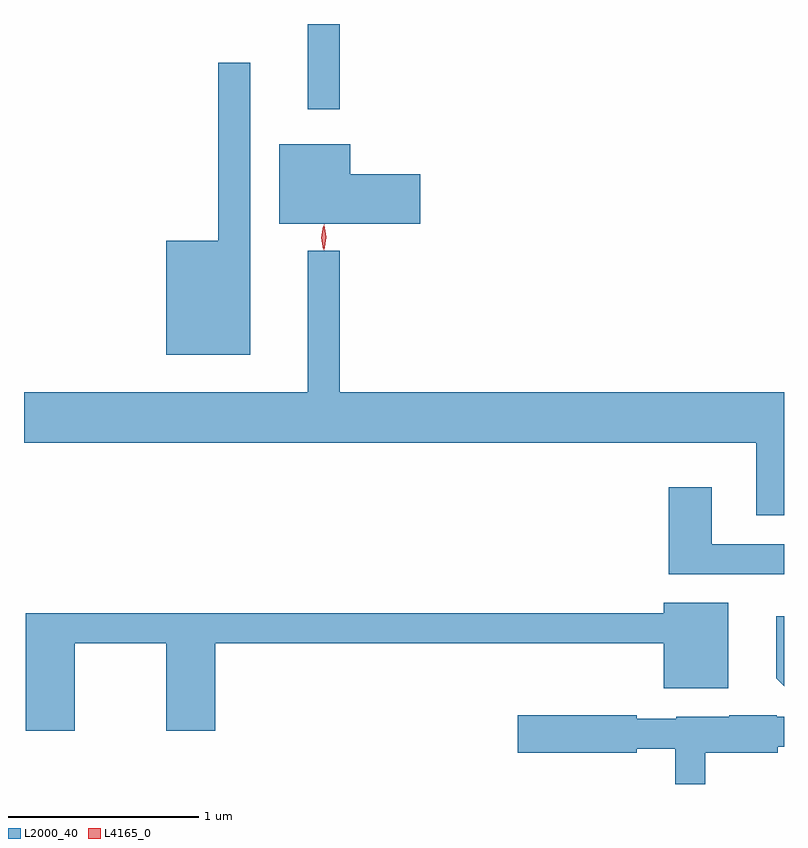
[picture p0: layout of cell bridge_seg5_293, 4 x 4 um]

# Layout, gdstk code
import gdstk
lib = gdstk.Library(unit=1e-6, precision=1e-09)
def R(c, l, rs):  # rectangles x0, y0, x1, y1
    for r in rs: c.add(gdstk.rectangle(r[:2], r[2:], *l))
def P(c, l, *ps):  # polygons
    for p in ps: c.add(gdstk.Polygon(p, *l))
L2000_40 = (2000, 40)
L4165_0 = (4165, 0)

bridge_seg5_293 = lib.new_cell('bridge_seg5_293')
R(bridge_seg5_293, L2000_40, [(689.981,1529.593,690.149,1530.041)])
P(bridge_seg5_293, L2000_40, [(689.679,1529.838),(689.511,1529.838),(689.511,1528.899),(689.236,1528.899),(689.236,1528.301),(689.679,1528.301)],
  [(690.574,1529.249),(690.204,1529.249),(690.204,1529.409),(689.831,1529.409),(689.831,1528.991),(690.574,1528.991)],
  [(692.488,1528.104),(690.149,1528.104),(690.149,1528.848),(689.981,1528.848),(689.981,1528.104),(688.488,1528.104),(688.488,1527.836),(692.341,1527.836),(692.341,1527.456),(692.488,1527.456)],
  [(692.488,1527.304),(692.109,1527.304),(692.109,1527.604),(691.881,1527.604),(691.881,1527.146),(692.488,1527.146)],
  [(688.754,1526.781),(689.236,1526.781),(689.236,1526.321),(689.494,1526.321),(689.494,1526.781),(691.856,1526.781),(691.856,1526.546),(692.194,1526.546),(692.194,1526.994),(691.856,1526.994),(691.856,1526.939),(688.496,1526.939),(688.496,1526.321),(688.754,1526.321)],
  [(692.488,1526.924),(692.446,1526.924),(692.446,1526.597),(692.488,1526.555)],
  [(692.074,1526.206),(692.454,1526.206),(692.454,1526.236),(692.488,1526.236),(692.488,1526.394),(692.45,1526.394),(692.45,1526.404),(692.2,1526.404),(692.2,1526.394),(691.92,1526.394),(691.92,1526.384),(691.714,1526.384),(691.714,1526.404),(691.086,1526.404),(691.086,1526.206),(691.714,1526.206),(691.714,1526.226),(691.916,1526.226),(691.916,1526.041),(692.074,1526.041)])
P(bridge_seg5_293, L4165_0, [(690.062,1528.853),(690.053,1528.916),(690.062,1528.98),(690.062,1528.98),(690.063,1528.98),(690.073,1528.916),(690.063,1528.853),(690.063,1528.853)],
  [(690.067,1528.85),(690.058,1528.918),(690.067,1528.985),(690.068,1528.986),(690.068,1528.985),(690.078,1528.918),(690.068,1528.85),(690.068,1528.85)])

lib.write_gds('bridge_seg5_293.gds')
